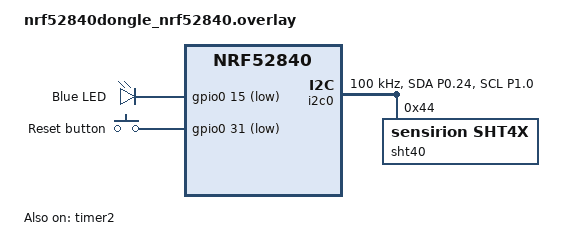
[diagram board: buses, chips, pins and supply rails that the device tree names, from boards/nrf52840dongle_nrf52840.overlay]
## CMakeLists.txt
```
# SPDX-License-Identifier: MIT

cmake_minimum_required(VERSION 3.20.0)
find_package(Zephyr REQUIRED HINTS $ENV{ZEPHYR_BASE})
project(frostbee)

target_sources(app PRIVATE src/main.c)
target_include_directories(app PRIVATE src)
```

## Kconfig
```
menu "SHT40 Test Variants"

choice SHT40_TEST_VARIANT
	prompt "Select which test variant to build and flash"
	default TEST_01_GPIO_WIGGLE

config TEST_01_GPIO_WIGGLE
	bool "Test 01: GPIO pin wiggle (verify wiring)"
	help
	  Toggles SDA/SCL pins as plain GPIO outputs.
	  Use a multimeter or logic analyzer to confirm
	  the pins are reaching your sensor.
	  NO I2C is used — purely electrical test.

config TEST_02_I2C_SCAN
	bool "Test 02: I2C bus scan (find devices)"
	help
	  Scans all 127 I2C addresses at 100kHz.
	  If your SHT40 is wired correctly, you should see
	  address 0x44 (or 0x45) respond with ACK.

config TEST_03_I2C_RAW_100K
	bool "Test 03: Raw I2C read at 100kHz"
	help
	  Sends the SHT40 'read serial number' command (0x89)
	  using Zephyr I2C API at standard 100kHz speed.
	  Prints the serial number bytes on success.

config TEST_04_I2C_RAW_400K
	bool "Test 04: Raw I2C read at 400kHz"
	help
	  Same as test 03 but at 400kHz (fast mode).
	  If test 03 works but this fails, your wiring
	  or pull-ups cannot handle fast mode.

config TEST_05_SOFT_RESET
	bool "Test 05: Soft reset then read"
	help
	  Sends a soft-reset command (0x94) to the SHT40,
	  waits 10ms, then reads serial number.
	  Useful if sensor is stuck from a previous
	  interrupted transaction.

config TEST_06_ZEPHYR_DRIVER
	bool "Test 06: Zephyr SHT4X sensor driver"
	help
	  Uses Zephyr's built-in sht4x sensor driver.
	  This is the 'proper' production approach.
	  Reads temperature and humidity via sensor API.

config TEST_07_NRFX_TWIM
	bool "Test 07: NRFX TWIM direct (bypass Zephyr)"
	help
	  Uses Nordic's NRFX TWIM HAL directly, bypassing
	  Zephyr's I2C driver entirely. If this works but
	  tests 03-06 fail, the issue is in Zephyr's driver.

config TEST_08_ALT_PINS
	bool "Test 08: Alternate pins P0.26/P0.27"
	help
	  Same I2C read as test 03 but on different pins
	  (P0.26=SDA, P0.27=SCL via i2c1).
	  Rules out pin-specific hardware issues.

config TEST_09_VERBOSE
	bool "Test 09: Verbose debug with retries"
	help
	  Same as test 03 but with maximum logging,
	  multiple retries, and detailed error reporting.
	  Use this to capture exact failure info.

endchoice

endmenu

source "Kconfig.zephyr"
```

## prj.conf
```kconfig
# Frostbee - Zigbee Temperature & Humidity Sensor
# Board: nRF52840 Dongle
#
# Unified configuration for dev and prod.
# ZBOSS NVRAM partitions are in pm_static.yml for persistent Zigbee storage.
# Bootloader is protected in region 0xd8000-0x100000.
#
# Build:
#   west build -b nrf52840dongle/nrf52840 app

# ─── Core ───
CONFIG_I2C=y
CONFIG_PINCTRL=y
CONFIG_SENSOR=y
CONFIG_GPIO=y
CONFIG_BUILD_OUTPUT_UF2=y

# ─── Zigbee ───
CONFIG_ZIGBEE_ADD_ON=y
CONFIG_ZIGBEE_APP_UTILS=y
CONFIG_ZIGBEE_ROLE_END_DEVICE=y

# Scan all Zigbee channels (11-26) instead of single channel
CONFIG_ZIGBEE_CHANNEL_SELECTION_MODE_MULTI=y

CONFIG_HEAP_MEM_POOL_SIZE=2048
CONFIG_SYSTEM_WORKQUEUE_STACK_SIZE=2048

# Networking (disable IP stack, not needed for Zigbee)
CONFIG_NET_IPV6=n
CONFIG_NET_IP_ADDR_CHECK=n
CONFIG_NET_UDP=n

# ─── Logging (enabled for development) ───
CONFIG_LOG=y
CONFIG_LOG_DEFAULT_LEVEL=3
CONFIG_SERIAL=y
CONFIG_CONSOLE=y
CONFIG_UART_CONSOLE=y
CONFIG_UART_INTERRUPT_DRIVEN=y
```

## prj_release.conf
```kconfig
# Frostbee - Release / Battery Overlay
#
# Apply on top of prj.conf for production builds (with NVRAM partitions):
#   west build -b nrf52840dongle_nrf52840 app -- \
#     -DOVERLAY_CONFIG=prj_release.conf \
#     -DPM_STATIC_YML_FILE=pm_static_release.yml
#
# WARNING: CONFIG_RAM_POWER_DOWN_LIBRARY can prevent the UF2 bootloader
# from detecting double-tap reset.  Only use this overlay when you have
# SWD access for recovery, or when the firmware is fully validated.

# ─── Power optimization ───
CONFIG_RAM_POWER_DOWN_LIBRARY=y

# ─── Disable logging / serial (saves ~10 µA idle current) ───
CONFIG_LOG=n
CONFIG_SERIAL=n
CONFIG_CONSOLE=n
CONFIG_UART_CONSOLE=n
CONFIG_UART_INTERRUPT_DRIVEN=n
```

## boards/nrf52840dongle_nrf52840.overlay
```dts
/ {
	chosen {
		ncs,zigbee-timer = &timer2;
	};

	leds {
		compatible = "gpio-leds";
		led0_green: led_0 {
			gpios = <&gpio0 15 GPIO_ACTIVE_LOW>;
			label = "Blue LED";
		};
	};

	buttons {
		compatible = "gpio-keys";
		reset_button: button_0 {
			gpios = <&gpio0 31 (GPIO_PULL_UP | GPIO_ACTIVE_LOW)>;
			label = "Reset button";
		};
	};

	aliases {
		led0 = &led0_green;
		sw0 = &reset_button;
	};
};

/* I2C bus for SHT40: SDA = P0.24, SCL = P1.00 */
&i2c0 {
	compatible = "nordic,nrf-twim";
	status = "okay";
	pinctrl-0 = <&i2c0_default>;
	pinctrl-1 = <&i2c0_sleep>;
	pinctrl-names = "default", "sleep";
	clock-frequency = <I2C_BITRATE_STANDARD>;

	sht40: sht4x@44 {
		compatible = "sensirion,sht4x";
		reg = <0x44>;
		repeatability = <2>;
	};
};

&pinctrl {
	i2c0_default: i2c0_default {
		group1 {
			psels = <NRF_PSEL(TWIM_SDA, 0, 24)>,
				<NRF_PSEL(TWIM_SCL, 1, 0)>;
		};
	};

	i2c0_sleep: i2c0_sleep {
		group1 {
			psels = <NRF_PSEL(TWIM_SDA, 0, 24)>,
				<NRF_PSEL(TWIM_SCL, 1, 0)>;
			low-power-enable;
		};
	};
};

&timer2 {
	status = "okay";
};
```

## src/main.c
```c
/*
 * Frostbee - Zigbee Temperature & Humidity Sensor
 *
 * nRF52840 Dongle + Sensirion SHT40 via I2C
 * Zigbee Sleepy End Device with ZCL clusters:
 *   - Basic, Identify, Power Configuration
 *   - Temperature Measurement, Relative Humidity
 *
 * SPDX-License-Identifier: MIT
 */

#include <zephyr/kernel.h>
#include <zephyr/device.h>
#include <zephyr/drivers/gpio.h>
#include <zephyr/drivers/sensor.h>
#include <zephyr/drivers/adc.h>
#include <zephyr/logging/log.h>
#include <zephyr/sys/reboot.h>
#include <ram_pwrdn.h>

#include <zboss_api.h>
#include <zboss_api_addons.h>
#include <zigbee/zigbee_app_utils.h>
#include <zigbee/zigbee_error_handler.h>
#include <zb_nrf_platform.h>
#include "zb_mem_config_custom.h"
#include "zb_frostbee.h"

LOG_MODULE_REGISTER(frostbee, LOG_LEVEL_INF);

/* Forward declarations */
static void sensor_read_and_update(zb_bufid_t bufid);
static void sensor_read_only(void);

/* Sensor read interval in seconds (used for ZBOSS alarm scheduling). */
#define SENSOR_READ_INTERVAL_S  10  /* 10s for dev, 600s for production */

/* Reset button timing (milliseconds) */
#define BUTTON_DEBOUNCE_MS         100    /* Ignore edges within this window */
#define BUTTON_SHORT_PRESS_MAX_MS  1000   /* < 1s = short press (force sensor read) */
#define BUTTON_FACTORY_RESET_MS    5000   /* >= 5s = factory reset */

/* Reset button GPIO */
#define RESET_BUTTON_NODE DT_ALIAS(sw0)

/* Zigbee network persistence:
 * By default, network data is kept across reboots (no rejoin needed).
 * Factory reset (5s button press) triggers NVRAM erase on next boot.
 * The erase flag is stored in settings subsystem and survives reboot.
 */

/* Basic cluster metadata */
#define FROSTBEE_INIT_BASIC_APP_VERSION    1
#define FROSTBEE_INIT_BASIC_STACK_VERSION  10
#define FROSTBEE_INIT_BASIC_HW_VERSION     1
#define FROSTBEE_INIT_BASIC_MANUF_NAME     "Frostbee"
#define FROSTBEE_INIT_BASIC_MODEL_ID       "FBE_TH_1"
#define FROSTBEE_INIT_BASIC_DATE_CODE      "20250201"
#define FROSTBEE_INIT_BASIC_LOCATION_DESC  ""
#define FROSTBEE_INIT_BASIC_PH_ENV         ZB_ZCL_BASIC_ENV_UNSPECIFIED

/* Temperature measurement range: -40.00 C to +125.00 C (SHT40 spec) */
#define FROSTBEE_TEMP_MIN_VALUE  (-4000)
#define FROSTBEE_TEMP_MAX_VALUE  12500

/* Humidity measurement range: 0.00% to 100.00% */
#define FROSTBEE_HUM_MIN_VALUE   0
#define FROSTBEE_HUM_MAX_VALUE   10000

/* ─── Device context (ZCL attribute storage) ─── */

struct zb_device_ctx {
	zb_zcl_basic_attrs_ext_t basic_attr;
	zb_zcl_identify_attrs_t  identify_attr;

	/* Power configuration */
	zb_uint8_t battery_voltage;
	zb_uint8_t battery_percentage;
	zb_uint8_t battery_size;
	zb_uint8_t battery_quantity;
	zb_uint8_t battery_rated_voltage;
	zb_uint8_t battery_alarm_mask;
	zb_uint8_t battery_voltage_min_threshold;

	/* Temperature measurement */
	zb_int16_t  temp_measure_value;
	zb_int16_t  temp_min_value;
	zb_int16_t  temp_max_value;
	zb_uint16_t temp_tolerance;

	/* Humidity measurement */
	zb_uint16_t hum_measure_value;
	zb_uint16_t hum_min_value;
	zb_uint16_t hum_max_value;
};

static struct zb_device_ctx dev_ctx;

/* Sensor device handle */
static const struct device *sht;

/* ─── Battery voltage measurement ─── */

/* ADC configuration for P0.29 (AIN5) */
#define ADC_NODE        DT_NODELABEL(adc)
#define ADC_CHANNEL_ID  5
#define ADC_RESOLUTION  12
#define ADC_VREF_MV     600   /* Internal reference: 0.6V */
#define ADC_GAIN_FACTOR 6     /* Gain 1/6 means multiply by 6 */

/* Voltage divider: R1=10kΩ, R2=10kΩ (divides by 2) */
#define VDIV_FACTOR     2

static const struct device *adc_dev;

static struct adc_channel_cfg adc_cfg = {
	.gain = ADC_GAIN_1_6,
	.reference = ADC_REF_INTERNAL,
	.acquisition_time = ADC_ACQ_TIME_DEFAULT,
	.channel_id = ADC_CHANNEL_ID,
	.input_positive = SAADC_CH_PSELP_PSELP_AnalogInput5,  /* AIN5 = P0.29 */
};

static int16_t adc_sample_buffer;

static struct adc_sequence adc_seq = {
	.channels = BIT(ADC_CHANNEL_ID),
	.buffer = &adc_sample_buffer,
	.buffer_size = sizeof(adc_sample_buffer),
	.resolution = ADC_RESOLUTION,
};

/* GPIO to enable voltage divider (P0.02) - active LOW = connected to GND */
static const struct gpio_dt_spec vbat_enable = GPIO_DT_SPEC_GET(DT_NODELABEL(vbat_en), gpios);

/* Mutex to protect sensor access from concurrent reads */
static K_MUTEX_DEFINE(sensor_mutex);

/* Reset button */
#if DT_NODE_EXISTS(RESET_BUTTON_NODE)
static const struct gpio_dt_spec reset_button = GPIO_DT_SPEC_GET(RESET_BUTTON_NODE, gpios);
static struct gpio_callback button_cb_data;
static int64_t button_press_time;
static bool button_pressed_state;  /* Track logical state */
static bool long_press_handled;    /* Already triggered factory reset */
static struct k_work_delayable debounce_work;
static struct k_work_delayable factory_reset_work;

static void do_factory_reset(zb_uint8_t param)
{
	ARG_UNUSED(param);

	LOG_WRN("Factory reset - leaving network and erasing NVRAM");
	/* This function leaves the network, erases NVRAM, and reboots.
	 * It's called from ZBOSS context via ZB_SCHEDULE_APP_CALLBACK.
	 */
	zb_bdb_reset_via_local_action(param);
	/* Note: zb_bdb_reset_via_local_action will trigger a reboot internally */
}

static void factory_reset_handler(struct k_work *work)
{
	ARG_UNUSED(work);

	/* Check if button is still held */
	if (gpio_pin_get_dt(&reset_button) == 1) {
		long_press_handled = true;
		/* Schedule factory reset in ZBOSS context */
		ZB_SCHEDULE_APP_CALLBACK(do_factory_reset, 0);
	}
}

static void debounce_handler(struct k_work *work)
{
	ARG_UNUSED(work);

	/* Read the settled state after debounce period */
	int pressed = gpio_pin_get_dt(&reset_button);

	/* Only act if state actually changed */
	if (pressed == button_pressed_state) {
		return;
	}
	button_pressed_state = pressed;

	if (pressed) {
		/* Button pressed - record time and schedule factory reset check */
		button_press_time = k_uptime_get();
		long_press_handled = false;
		k_work_schedule(&factory_reset_work, K_MSEC(BUTTON_FACTORY_RESET_MS));
		LOG_INF("Button pressed - hold 5s for factory reset");
	} else {
		/* Button released - cancel factory reset, check for short press */
		k_work_cancel_delayable(&factory_reset_work);

		if (long_press_handled) {
			LOG_INF("Button released (monitoring now active)");
			long_press_handled = false;  /* Ready for next press */
		} else {
			int64_t hold_time = k_uptime_get() - button_press_time;

			if (hold_time < BUTTON_SHORT_PRESS_MAX_MS) {
				LOG_INF("Short press - forcing sensor read");
				sensor_read_only();
			} else {
				LOG_INF("Button released after %lld ms (no action)", hold_time);
			}
		}
	}
}

static void button_callback(const struct device *dev, struct gpio_callback *cb,
			    uint32_t pins)
{
	ARG_UNUSED(dev);
	ARG_UNUSED(cb);
	ARG_UNUSED(pins);

	/* On any edge, schedule debounce check - it will read settled state */
	k_work_reschedule(&debounce_work, K_MSEC(BUTTON_DEBOUNCE_MS));
}

static int button_init(void)
{
	int ret;

	if (!gpio_is_ready_dt(&reset_button)) {
		LOG_ERR("Reset button GPIO not ready");
		return -ENODEV;
	}

	ret = gpio_pin_configure_dt(&reset_button, GPIO_INPUT);
	if (ret < 0) {
		LOG_ERR("Failed to configure reset button: %d", ret);
		return ret;
	}

	ret = gpio_pin_interrupt_configure_dt(&reset_button, GPIO_INT_EDGE_BOTH);
	if (ret < 0) {
		LOG_ERR("Failed to configure button interrupt: %d", ret);
		return ret;
	}

	gpio_init_callback(&button_cb_data, button_callback,
			   BIT(reset_button.pin));
	gpio_add_callback(reset_button.port, &button_cb_data);

	k_work_init_delayable(&debounce_work, debounce_handler);
	k_work_init_delayable(&factory_reset_work, factory_reset_handler);

	/* Initialize state from current pin level.
	 * If button is pressed on boot (e.g., still held from factory reset),
	 * wait for release before monitoring to avoid spurious actions.
	 */
	button_pressed_state = gpio_pin_get_dt(&reset_button);

	LOG_INF("Reset button ready on P0.31 (initial state: %s)",
		button_pressed_state ? "pressed" : "released");

	if (button_pressed_state) {
		LOG_INF("Button held on boot - waiting for release before monitoring");
		/* Wait for button to be released before starting normal monitoring */
		long_press_handled = true;  /* Suppress any actions until released */
	}

	return 0;
}
#endif /* DT_NODE_EXISTS(RESET_BUTTON_NODE) */

/* ─── ZCL attribute lists ─── */

ZB_ZCL_DECLARE_BASIC_ATTRIB_LIST_EXT(
	basic_attr_list,
	&dev_ctx.basic_attr.zcl_version,
	&dev_ctx.basic_attr.app_version,
	&dev_ctx.basic_attr.stack_version,
	&dev_ctx.basic_attr.hw_version,
	dev_ctx.basic_attr.mf_name,
	dev_ctx.basic_attr.model_id,
	dev_ctx.basic_attr.date_code,
	&dev_ctx.basic_attr.power_source,
	dev_ctx.basic_attr.location_id,
	&dev_ctx.basic_attr.ph_env,
	dev_ctx.basic_attr.sw_ver);

ZB_ZCL_DECLARE_IDENTIFY_CLIENT_ATTRIB_LIST(
	identify_client_attr_list);

ZB_ZCL_DECLARE_IDENTIFY_SERVER_ATTRIB_LIST(
	identify_server_attr_list,
	&dev_ctx.identify_attr.identify_time);

/* Custom power config attribute list with batteryPercentageRemaining
 * Using raw attribute descriptors since ZBOSS macros require bat_num suffix
 */
zb_zcl_attr_t power_config_attr_list[] = {
	{
		ZB_ZCL_ATTR_POWER_CONFIG_BATTERY_VOLTAGE_ID,
		ZB_ZCL_ATTR_TYPE_U8,
		ZB_ZCL_ATTR_ACCESS_READ_ONLY,
		(ZB_ZCL_NON_MANUFACTURER_SPECIFIC),
		(void *)&dev_ctx.battery_voltage
	},
	{
		ZB_ZCL_ATTR_POWER_CONFIG_BATTERY_PERCENTAGE_REMAINING_ID,
		ZB_ZCL_ATTR_TYPE_U8,
		ZB_ZCL_ATTR_ACCESS_READ_ONLY | ZB_ZCL_ATTR_ACCESS_REPORTING,
		(ZB_ZCL_NON_MANUFACTURER_SPECIFIC),
		(void *)&dev_ctx.battery_percentage
	},
	{
		ZB_ZCL_ATTR_POWER_CONFIG_BATTERY_SIZE_ID,
		ZB_ZCL_ATTR_TYPE_8BIT_ENUM,
		ZB_ZCL_ATTR_ACCESS_READ_ONLY,
		(ZB_ZCL_NON_MANUFACTURER_SPECIFIC),
		(void *)&dev_ctx.battery_size
	},
	{
		ZB_ZCL_ATTR_POWER_CONFIG_BATTERY_QUANTITY_ID,
		ZB_ZCL_ATTR_TYPE_U8,
		ZB_ZCL_ATTR_ACCESS_READ_ONLY,
		(ZB_ZCL_NON_MANUFACTURER_SPECIFIC),
		(void *)&dev_ctx.battery_quantity
	},
	{
		ZB_ZCL_ATTR_POWER_CONFIG_BATTERY_RATED_VOLTAGE_ID,
		ZB_ZCL_ATTR_TYPE_U8,
		ZB_ZCL_ATTR_ACCESS_READ_ONLY,
		(ZB_ZCL_NON_MANUFACTURER_SPECIFIC),
		(void *)&dev_ctx.battery_rated_voltage
	},
	{
		ZB_ZCL_ATTR_POWER_CONFIG_BATTERY_ALARM_MASK_ID,
		ZB_ZCL_ATTR_TYPE_8BITMAP,
		ZB_ZCL_ATTR_ACCESS_READ_WRITE,
		(ZB_ZCL_NON_MANUFACTURER_SPECIFIC),
		(void *)&dev_ctx.battery_alarm_mask
	},
	{
		ZB_ZCL_ATTR_POWER_CONFIG_BATTERY_VOLTAGE_MIN_THRESHOLD_ID,
		ZB_ZCL_ATTR_TYPE_U8,
		ZB_ZCL_ATTR_ACCESS_READ_WRITE,
		(ZB_ZCL_NON_MANUFACTURER_SPECIFIC),
		(void *)&dev_ctx.battery_voltage_min_threshold
	},
	{
		ZB_ZCL_NULL_ID,
		0,
		0,
		(ZB_ZCL_NON_MANUFACTURER_SPECIFIC),
		NULL
	}
};

ZB_ZCL_DECLARE_TEMP_MEASUREMENT_ATTRIB_LIST(
	temp_measurement_attr_list,
	&dev_ctx.temp_measure_value,
	&dev_ctx.temp_min_value,
	&dev_ctx.temp_max_value,
	&dev_ctx.temp_tolerance);

ZB_ZCL_DECLARE_REL_HUMIDITY_MEASUREMENT_ATTRIB_LIST(
	humidity_attr_list,
	&dev_ctx.hum_measure_value,
	&dev_ctx.hum_min_value,
	&dev_ctx.hum_max_value);

/* ─── Cluster list, endpoint, device context ─── */

ZB_DECLARE_FROSTBEE_CLUSTER_LIST(
	frostbee_clusters,
	basic_attr_list,
	identify_client_attr_list,
	identify_server_attr_list,
	power_config_attr_list,
	temp_measurement_attr_list,
	humidity_attr_list);

ZB_DECLARE_FROSTBEE_EP(
	frostbee_ep,
	FROSTBEE_ENDPOINT,
	frostbee_clusters);

ZBOSS_DECLARE_DEVICE_CTX_1_EP(
	frostbee_ctx,
	frostbee_ep);

/* ─── Attribute initialization ─── */

static void clusters_attr_init(void)
{
	/* Basic cluster */
	dev_ctx.basic_attr.zcl_version = ZB_ZCL_VERSION;
	dev_ctx.basic_attr.app_version = FROSTBEE_INIT_BASIC_APP_VERSION;
	dev_ctx.basic_attr.stack_version = FROSTBEE_INIT_BASIC_STACK_VERSION;
	dev_ctx.basic_attr.hw_version = FROSTBEE_INIT_BASIC_HW_VERSION;

	ZB_ZCL_SET_STRING_VAL(
		dev_ctx.basic_attr.mf_name,
		FROSTBEE_INIT_BASIC_MANUF_NAME,
		ZB_ZCL_STRING_CONST_SIZE(FROSTBEE_INIT_BASIC_MANUF_NAME));

	ZB_ZCL_SET_STRING_VAL(
		dev_ctx.basic_attr.model_id,
		FROSTBEE_INIT_BASIC_MODEL_ID,
		ZB_ZCL_STRING_CONST_SIZE(FROSTBEE_INIT_BASIC_MODEL_ID));

	ZB_ZCL_SET_STRING_VAL(
		dev_ctx.basic_attr.date_code,
		FROSTBEE_INIT_BASIC_DATE_CODE,
		ZB_ZCL_STRING_CONST_SIZE(FROSTBEE_INIT_BASIC_DATE_CODE));

	dev_ctx.basic_attr.power_source = ZB_ZCL_BASIC_POWER_SOURCE_BATTERY;

	ZB_ZCL_SET_STRING_VAL(
		dev_ctx.basic_attr.location_id,
		FROSTBEE_INIT_BASIC_LOCATION_DESC,
		ZB_ZCL_STRING_CONST_SIZE(FROSTBEE_INIT_BASIC_LOCATION_DESC));

	dev_ctx.basic_attr.ph_env = FROSTBEE_INIT_BASIC_PH_ENV;

	/* Identify cluster */
	dev_ctx.identify_attr.identify_time =
		ZB_ZCL_IDENTIFY_IDENTIFY_TIME_DEFAULT_VALUE;

	/* Power configuration — 3× AA batteries in series */
	dev_ctx.battery_voltage = 45;  /* 4.5V in units of 100mV (fresh batteries) */
	dev_ctx.battery_percentage = 200; /* 100% (ZCL uses 0.5% units, so 200 = 100%) */
	dev_ctx.battery_size = ZB_ZCL_POWER_CONFIG_BATTERY_SIZE_AA;
	dev_ctx.battery_quantity = 3;  /* 3× AA in series */
	dev_ctx.battery_rated_voltage = 15; /* 1.5V per cell in units of 100mV */
	dev_ctx.battery_alarm_mask = 0;
	dev_ctx.battery_voltage_min_threshold = 30; /* 3.0V alarm threshold (1.0V per cell) */

	/* Temperature measurement */
	dev_ctx.temp_measure_value = ZB_ZCL_ATTR_TEMP_MEASUREMENT_VALUE_UNKNOWN;
	dev_ctx.temp_min_value = FROSTBEE_TEMP_MIN_VALUE;
	dev_ctx.temp_max_value = FROSTBEE_TEMP_MAX_VALUE;
	dev_ctx.temp_tolerance = 20; /* 0.2 C tolerance (SHT40 typical accuracy) */

	/* Humidity measurement */
	dev_ctx.hum_measure_value = ZB_ZCL_ATTR_REL_HUMIDITY_MEASUREMENT_VALUE_UNKNOWN;
	dev_ctx.hum_min_value = FROSTBEE_HUM_MIN_VALUE;
	dev_ctx.hum_max_value = FROSTBEE_HUM_MAX_VALUE;
}

/* ─── Battery voltage measurement ─── */

/* Compare function for qsort - ascending order */
static int compare_int16(const void *a, const void *b)
{
	return (*(int16_t *)a - *(int16_t *)b);
}

/* Read battery voltage via ADC with voltage divider enable/disable.
 *
 * Circuit: BAT+ → R1(10kΩ) → [P0.29/ADC] → R2(10kΩ) → [P0.02/GPIO] → GND
 *                                        └→ C(0.1µF) → GND
 *
 * Power saving: P0.02 configured as INPUT (high-Z) when not measuring.
 *               Only set to OUTPUT LOW when reading ADC (enables divider).
 *
 * Measurement strategy: Take 5 samples, remove min/max, average middle 3.
 * This eliminates ADC noise and transient spikes.
 *
 * Returns battery voltage in ZCL format (units of 100mV), or 0 on error.
 */
static uint8_t read_battery_voltage(void)
{
	int ret;
	int16_t samples[5];

	if (!device_is_ready(adc_dev)) {
		LOG_ERR("ADC device not ready");
		return 0;
	}

	/* Enable voltage divider: set P0.02 as OUTPUT LOW (connects R2 to GND) */
	ret = gpio_pin_configure_dt(&vbat_enable, GPIO_OUTPUT_ACTIVE);
	if (ret < 0) {
		LOG_ERR("Failed to enable voltage divider: %d", ret);
		return 0;
	}

	/* Wait for capacitor to charge and voltage to stabilize
	 * RC = 10kΩ × 0.1µF = 1ms, wait 2ms to be safe
	 */
	k_msleep(2);

	/* Take 5 ADC samples */
	for (int i = 0; i < 5; i++) {
		ret = adc_read(adc_dev, &adc_seq);
		if (ret < 0) {
			LOG_ERR("ADC read %d failed: %d", i, ret);
			gpio_pin_configure_dt(&vbat_enable, GPIO_INPUT);
			return 0;
		}
		samples[i] = adc_sample_buffer;

		/* Small delay between samples to allow ADC to settle */
		if (i < 4) {
			k_usleep(500);  /* 500µs between samples */
		}
	}

	/* Disable voltage divider: set P0.02 as INPUT (high impedance, ~0µA) */
	gpio_pin_configure_dt(&vbat_enable, GPIO_INPUT);

	/* Sort samples to find min/max */
	qsort(samples, 5, sizeof(int16_t), compare_int16);

	/* Average the middle 3 values (exclude min=samples[0] and max=samples[4]) */
	int32_t sum = samples[1] + samples[2] + samples[3];
	int16_t avg_sample = sum / 3;

	LOG_DBG("ADC samples: [%d, %d, %d, %d, %d] → avg of middle 3: %d",
		samples[0], samples[1], samples[2], samples[3], samples[4], avg_sample);

	/* Convert ADC value to millivolts at ADC pin (P0.29)
	 * Formula: mV = (sample × VREF_mV × GAIN_FACTOR) / (2^12 - 1)
	 * Example: sample=2048 → (2048 × 600 × 6) / 4095 = 1800mV
	 */
	int32_t adc_mv = ((int32_t)avg_sample * ADC_VREF_MV * ADC_GAIN_FACTOR) / 4095;

	/* Actual battery voltage (voltage divider is 1:2, so multiply by 2) */
	int32_t battery_mv = adc_mv * VDIV_FACTOR;

	/* Convert to ZCL format: units of 100mV */
	uint8_t battery_zcl = (uint8_t)(battery_mv / 100);

	/* Calculate battery percentage (linear approximation for 3× AA batteries):
	 * 4.5V (fresh) = 100%, 3.0V (depleted) = 0%
	 * ZCL uses 0.5% units, so 200 = 100%, 0 = 0%
	 */
	int32_t percentage_raw = ((battery_mv - 3000) * 200) / 1500;
	if (percentage_raw < 0) {
		percentage_raw = 0;
	}
	if (percentage_raw > 200) {
		percentage_raw = 200;
	}
	uint8_t battery_pct = (uint8_t)percentage_raw;

	LOG_INF("Battery: %d mV (ZCL=%u), %u%% (ZCL=%u)",
		battery_mv, battery_zcl,
		battery_pct / 2, battery_pct);

	/* Update device context */
	dev_ctx.battery_voltage = battery_zcl;
	dev_ctx.battery_percentage = battery_pct;

	return battery_zcl;
}

/* ─── Sensor reading & ZCL attribute update ─── */

/* Read sensor and update ZCL attributes (without rescheduling).
 * Used by button handler for on-demand reads.
 * Thread-safe via mutex - can be called from button or timer context.
 */
static void sensor_read_only(void)
{
	struct sensor_value temp, hum;
	int ret;

	k_mutex_lock(&sensor_mutex, K_FOREVER);

	if (!device_is_ready(sht)) {
		LOG_ERR("SHT4X not ready, skipping read");
		k_mutex_unlock(&sensor_mutex);
		return;
	}

	ret = sensor_sample_fetch(sht);
	if (ret) {
		LOG_ERR("Sensor fetch failed: %d", ret);
		k_mutex_unlock(&sensor_mutex);
		return;
	}

	sensor_channel_get(sht, SENSOR_CHAN_AMBIENT_TEMP, &temp);
	sensor_channel_get(sht, SENSOR_CHAN_HUMIDITY, &hum);

	/* Convert to ZCL format:
	 * Temperature: signed int16 in units of 0.01 C
	 * Humidity: unsigned int16 in units of 0.01 %RH
	 */
	zb_int16_t temp_zcl = (zb_int16_t)(temp.val1 * 100 +
					    temp.val2 / 10000);
	zb_uint16_t hum_zcl = (zb_uint16_t)(hum.val1 * 100 +
					     hum.val2 / 10000);

	LOG_INF("T: %d.%02d C (%d)  H: %d.%02d %%RH (%u)",
		temp.val1, temp.val2 / 10000, temp_zcl,
		hum.val1, hum.val2 / 10000, hum_zcl);

	/* Update ZCL attributes — ZB_FALSE just stores the value.
	 * The ZBOSS reporting engine sends reports automatically
	 * based on the coordinator's Configure Reporting thresholds
	 * (min/max interval, reportable change).
	 */
	ZB_ZCL_SET_ATTRIBUTE(
		FROSTBEE_ENDPOINT,
		ZB_ZCL_CLUSTER_ID_TEMP_MEASUREMENT,
		ZB_ZCL_CLUSTER_SERVER_ROLE,
		ZB_ZCL_ATTR_TEMP_MEASUREMENT_VALUE_ID,
		(zb_uint8_t *)&temp_zcl,
		ZB_FALSE);

	ZB_ZCL_SET_ATTRIBUTE(
		FROSTBEE_ENDPOINT,
		ZB_ZCL_CLUSTER_ID_REL_HUMIDITY_MEASUREMENT,
		ZB_ZCL_CLUSTER_SERVER_ROLE,
		ZB_ZCL_ATTR_REL_HUMIDITY_MEASUREMENT_VALUE_ID,
		(zb_uint8_t *)&hum_zcl,
		ZB_FALSE);

	/* Read battery voltage via ADC */
	read_battery_voltage();

	/* Update battery ZCL attributes */
	ZB_ZCL_SET_ATTRIBUTE(
		FROSTBEE_ENDPOINT,
		ZB_ZCL_CLUSTER_ID_POWER_CONFIG,
		ZB_ZCL_CLUSTER_SERVER_ROLE,
		ZB_ZCL_ATTR_POWER_CONFIG_BATTERY_VOLTAGE_ID,
		(zb_uint8_t *)&dev_ctx.battery_voltage,
		ZB_FALSE);

	ZB_ZCL_SET_ATTRIBUTE(
		FROSTBEE_ENDPOINT,
		ZB_ZCL_CLUSTER_ID_POWER_CONFIG,
		ZB_ZCL_CLUSTER_SERVER_ROLE,
		ZB_ZCL_ATTR_POWER_CONFIG_BATTERY_PERCENTAGE_REMAINING_ID,
		(zb_uint8_t *)&dev_ctx.battery_percentage,
		ZB_FALSE);

	k_mutex_unlock(&sensor_mutex);
}

/* Periodic sensor read callback (called by Zigbee alarm scheduler).
 * Reads sensor and reschedules next read.
 */
static void sensor_read_and_update(zb_bufid_t bufid)
{
	ARG_UNUSED(bufid);

	sensor_read_only();

	/* Schedule next periodic read */
	ZB_SCHEDULE_APP_ALARM(sensor_read_and_update, 0,
			      ZB_MILLISECONDS_TO_BEACON_INTERVAL(
				      SENSOR_READ_INTERVAL_S * 1000));
}

/* ─── Zigbee signal handler ─── */

void zboss_signal_handler(zb_bufid_t bufid)
{
	zb_zdo_app_signal_hdr_t *sig_hndler = NULL;
	zb_zdo_app_signal_type_t sig = zb_get_app_signal(bufid, &sig_hndler);
	zb_ret_t status = ZB_GET_APP_SIGNAL_STATUS(bufid);

	switch (sig) {
	case ZB_BDB_SIGNAL_DEVICE_REBOOT:
		/* fall-through */
	case ZB_BDB_SIGNAL_STEERING:
		ZB_ERROR_CHECK(zigbee_default_signal_handler(bufid));
		if (status == RET_OK) {
			LOG_INF("Joined network, starting sensor reads");
			/* Start periodic sensor reading */
			ZB_SCHEDULE_APP_ALARM(sensor_read_and_update, 0,
					      ZB_MILLISECONDS_TO_BEACON_INTERVAL(
						      1000));
		}
		break;

	case ZB_ZDO_SIGNAL_LEAVE:
		/* Factory reset triggered - reboot after leaving network */
#if DT_NODE_EXISTS(RESET_BUTTON_NODE)
		if (long_press_handled) {
			LOG_WRN("Left network after factory reset, rebooting...");
			k_msleep(100);
			sys_reboot(SYS_REBOOT_COLD);
		}
#endif
		ZB_ERROR_CHECK(zigbee_default_signal_handler(bufid));
		break;

	case ZB_ZDO_SIGNAL_PRODUCTION_CONFIG_READY:
		/* Production config partition is empty - this is normal,
		 * we don't use install codes or pre-shared keys. */
		break;

	case ZB_SIGNAL_JOIN_DONE:
		/* Certification testing signal - ignore. */
		break;

	default:
		ZB_ERROR_CHECK(zigbee_default_signal_handler(bufid));
		break;
	}

	if (bufid) {
		zb_buf_free(bufid);
	}
}

/* ─── Main ─── */

int main(void)
{
	LOG_INF("Frostbee starting - Zigbee SHT40 sensor");

	/* Get sensor device handle */
	sht = DEVICE_DT_GET_ANY(sensirion_sht4x);
	if (sht == NULL) {
		LOG_ERR("SHT4X device not found in devicetree");
		return -ENODEV;
	}
	if (!device_is_ready(sht)) {
		LOG_ERR("SHT4X device not ready");
		return -ENODEV;
	}
	LOG_INF("SHT40 sensor ready");

	/* Initialize ADC for battery voltage measurement */
	adc_dev = DEVICE_DT_GET(ADC_NODE);
	if (!device_is_ready(adc_dev)) {
		LOG_ERR("ADC device not ready");
		return -ENODEV;
	}

	if (adc_channel_setup(adc_dev, &adc_cfg) < 0) {
		LOG_ERR("ADC channel setup failed");
		return -EIO;
	}
	LOG_INF("ADC ready on P0.29 (AIN5) for battery voltage");

	/* Initialize GPIO for voltage divider control (P0.02)
	 * Start as INPUT (high-Z) to save power - divider is OFF by default
	 */
	if (!gpio_is_ready_dt(&vbat_enable)) {
		LOG_ERR("Battery enable GPIO not ready");
		return -ENODEV;
	}

	if (gpio_pin_configure_dt(&vbat_enable, GPIO_INPUT) < 0) {
		LOG_ERR("Failed to configure battery enable GPIO");
		return -EIO;
	}
	LOG_INF("Battery voltage divider control ready on P0.02 (default: OFF)");

#if DT_NODE_EXISTS(RESET_BUTTON_NODE)
	if (button_init() < 0) {
		LOG_WRN("Reset button init failed - continuing without it");
	}
#endif

	/* Configure as sleepy end device */
	zb_set_ed_timeout(ED_AGING_TIMEOUT_64MIN);
	zb_set_keepalive_timeout(ZB_MILLISECONDS_TO_BEACON_INTERVAL(3000));
	zigbee_configure_sleepy_behavior(true);

	/* Power down unused RAM */
	if (IS_ENABLED(CONFIG_RAM_POWER_DOWN_LIBRARY)) {
		power_down_unused_ram();
	}

	/* Register device context and initialize attributes */
	ZB_AF_REGISTER_DEVICE_CTX(&frostbee_ctx);
	clusters_attr_init();

	/* Start Zigbee stack */
	zigbee_enable();

	LOG_INF("Frostbee Zigbee stack started");

	while (1) {
		k_sleep(K_FOREVER);
	}

	return 0;
}
```

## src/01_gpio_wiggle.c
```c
/*
 * TEST 01: GPIO Pin Wiggle
 *
 * PURPOSE: Verify that your SDA (P0.20) and SCL (P0.22) wires are
 *          actually connected between the nRF and the SHT40 breakout.
 *
 * NO I2C is used here — we just toggle the pins as plain GPIO.
 *
 * WHAT TO CHECK:
 *   - Use a multimeter on the SDA/SCL lines
 *   - You should see voltage toggling every 1 second
 *   - If you don't see toggling, check your wiring
 *   - The on-board LED also blinks so you know the firmware is running
 *
 * EXPECTED SERIAL OUTPUT:
 *   [TEST 01] GPIO Pin Wiggle — verify SDA/SCL wiring
 *   [TEST 01] SDA=P0.20  SCL=P0.22
 *   [TEST 01] Toggling pins... (check with multimeter)
 *   [TEST 01] SDA=HIGH  SCL=HIGH
 *   [TEST 01] SDA=LOW   SCL=LOW
 *   ...repeats...
 */

#include <zephyr/kernel.h>
#include <zephyr/drivers/gpio.h>
#include <zephyr/logging/log.h>
#include <hal/nrf_gpio.h>
#include <hal/nrf_twim.h>

LOG_MODULE_REGISTER(test_01, LOG_LEVEL_INF);

/*
 * ┌─────────────────────────────────────────┐
 * │  CHANGE THESE TO TEST DIFFERENT PINS:   │
 * │                                         │
 * │  P0.xx → NRF_GPIO_PIN_MAP(0, xx)       │
 * │  P1.xx → NRF_GPIO_PIN_MAP(1, xx)       │
 * └─────────────────────────────────────────┘
 */
#define SDA_ABS  NRF_GPIO_PIN_MAP(0, 24)   /* P0.24 */
#define SCL_ABS  NRF_GPIO_PIN_MAP(1, 0)    /* P1.00 */

/* LED for visual heartbeat */
#define LED0_NODE DT_ALIAS(led0)
static const struct gpio_dt_spec led = GPIO_DT_SPEC_GET(LED0_NODE, gpios);

int main(void)
{
	/* Wait for USB serial to connect */
	for (int i = 10; i > 0; i--) {
		printk("Starting in %d...\n", i);
		k_msleep(1000);
	}

	LOG_INF("========================================");
	LOG_INF("TEST 01: GPIO Pin Wiggle");
	LOG_INF("Verify SDA/SCL wiring with multimeter");
	LOG_INF("========================================");
	LOG_INF("SDA = P%d.%02d (abs %d)", SDA_ABS / 32, SDA_ABS % 32, SDA_ABS);
	LOG_INF("SCL = P%d.%02d (abs %d)", SCL_ABS / 32, SCL_ABS % 32, SCL_ABS);

	/*
	 * Disable ALL I2C peripherals and disconnect their pins.
	 * Both TWIM0 and TWIM1 are enabled in the overlay, so
	 * Zephyr claims pins at boot. We must fully release them.
	 */
	LOG_INF("Disabling TWIM0 and TWIM1...");

	NRF_TWIM0->ENABLE = 0;
	NRF_TWIM0->PSEL.SDA = 0xFFFFFFFF;
	NRF_TWIM0->PSEL.SCL = 0xFFFFFFFF;

	NRF_TWIM1->ENABLE = 0;
	NRF_TWIM1->PSEL.SDA = 0xFFFFFFFF;
	NRF_TWIM1->PSEL.SCL = 0xFFFFFFFF;

	/*
	 * Configure pins using direct nRF register access.
	 * nrf_gpio_* functions handle both P0 and P1 ports.
	 */
	LOG_INF("Configuring pins as GPIO outputs...");

	nrf_gpio_cfg_output(SDA_ABS);
	nrf_gpio_cfg_output(SCL_ABS);

	/* Start both LOW */
	nrf_gpio_pin_clear(SDA_ABS);
	nrf_gpio_pin_clear(SCL_ABS);

	/* Read back to verify */
	uint32_t sda_in = nrf_gpio_pin_read(SDA_ABS);
	uint32_t scl_in = nrf_gpio_pin_read(SCL_ABS);
	uint32_t sda_out = nrf_gpio_pin_out_read(SDA_ABS);
	uint32_t scl_out = nrf_gpio_pin_out_read(SCL_ABS);

	LOG_INF("After clear — OUT reg: SDA=%d SCL=%d", sda_out, scl_out);
	LOG_INF("After clear — IN  reg: SDA=%d SCL=%d", sda_in, scl_in);

	if (sda_in != 0 || scl_in != 0) {
		LOG_WRN("Pin reads HIGH despite being set LOW!");
		LOG_WRN("Something external may be pulling the line up");
		LOG_WRN("(pull-up resistor? sensor? short to VCC?)");
	}

	/* Configure LED */
	if (gpio_is_ready_dt(&led)) {
		gpio_pin_configure_dt(&led, GPIO_OUTPUT_ACTIVE);
	}

	LOG_INF("");
	LOG_INF("Toggling pins every 1 second...");
	LOG_INF("Measure with multimeter: should alternate 0V / 3.3V");
	LOG_INF("");

	bool state = false;
	int cycle = 0;

	while (1) {
		state = !state;
		cycle++;

		/* Toggle using nrf_gpio (handles both P0 and P1) */
		if (state) {
			nrf_gpio_pin_set(SDA_ABS);
			nrf_gpio_pin_set(SCL_ABS);
		} else {
			nrf_gpio_pin_clear(SDA_ABS);
			nrf_gpio_pin_clear(SCL_ABS);
		}

		/* Read back what the pin actually sees */
		sda_in = nrf_gpio_pin_read(SDA_ABS);
		scl_in = nrf_gpio_pin_read(SCL_ABS);

		if (gpio_is_ready_dt(&led)) {
			gpio_pin_toggle_dt(&led);
		}

		LOG_INF("[cycle %d] SET=%s  READ: SDA=%s SCL=%s",
			cycle,
			state ? "HIGH" : "LOW",
			sda_in ? "HIGH" : "LOW",
			scl_in ? "HIGH" : "LOW");

		k_msleep(1000);
	}

	return 0;
}
```

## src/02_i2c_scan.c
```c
/*
 * TEST 02: I2C Bus Scan
 *
 * PURPOSE: Scan all 127 possible I2C addresses to see which devices
 *          respond with ACK. The SHT40 should appear at 0x44 or 0x45.
 *
 * WHAT TO CHECK:
 *   - If you see "Found device at 0x44" — sensor is electrically OK
 *   - If you see "Found device at 0x45" — sensor is the B variant
 *   - If NO devices found — wiring or pull-up issue
 *
 * EXPECTED SERIAL OUTPUT (success):
 *   [TEST 02] I2C Bus Scan
 *   [TEST 02] Scanning 127 addresses on i2c0...
 *   [TEST 02] 0x44: *** FOUND DEVICE ***
 *   [TEST 02] Scan complete: 1 device(s) found
 *
 * EXPECTED SERIAL OUTPUT (failure):
 *   [TEST 02] Scan complete: 0 device(s) found
 *   [TEST 02] >>> No devices! Check wiring and pull-ups <<<
 */

#include <zephyr/kernel.h>
#include <zephyr/drivers/i2c.h>
#include <zephyr/drivers/gpio.h>
#include <zephyr/logging/log.h>

LOG_MODULE_REGISTER(test_02, LOG_LEVEL_INF);

#define I2C_NODE DT_NODELABEL(i2c0)

/* LED for visual heartbeat */
#define LED0_NODE DT_ALIAS(led0)
static const struct gpio_dt_spec led = GPIO_DT_SPEC_GET(LED0_NODE, gpios);

int main(void)
{
	const struct device *i2c_dev = DEVICE_DT_GET(I2C_NODE);
	int found = 0;

	/* Wait for USB serial to connect */
	for (int i = 10; i > 0; i--) {
		printk("Starting in %d...\n", i);
		k_msleep(1000);
	}

	LOG_INF("========================================");
	LOG_INF("TEST 02: I2C Bus Scan");
	LOG_INF("Looking for devices on i2c0 (100kHz)");
	LOG_INF("SDA=P0.24  SCL=P1.00");
	LOG_INF("========================================");

	if (!device_is_ready(i2c_dev)) {
		LOG_ERR("I2C device not ready! Check overlay/config.");
		return -1;
	}

	LOG_INF("I2C bus is ready. Scanning 127 addresses...");
	LOG_INF("");

	/* Configure LED */
	if (gpio_is_ready_dt(&led)) {
		gpio_pin_configure_dt(&led, GPIO_OUTPUT_ACTIVE);
	}

	/*
	 * Scan every valid 7-bit address (0x03 to 0x77).
	 * Addresses 0x00-0x02 and 0x78-0x7F are reserved.
	 * We do a zero-length write — if the device ACKs, it exists.
	 */
	for (uint8_t addr = 0x03; addr <= 0x77; addr++) {
		struct i2c_msg msg;
		uint8_t dummy;

		msg.buf = &dummy;
		msg.len = 0;
		msg.flags = I2C_MSG_WRITE | I2C_MSG_STOP;

		int ret = i2c_transfer(i2c_dev, &msg, 1, addr);

		if (ret == 0) {
			LOG_INF("  0x%02X: *** FOUND DEVICE ***", addr);
			found++;

			if (addr == 0x44) {
				LOG_INF("         ^ This is SHT40-AD1B (most common)");
			} else if (addr == 0x45) {
				LOG_INF("         ^ This is SHT40-BD1B (B variant)");
			}
		}
	}

	LOG_INF("");
	LOG_INF("Scan complete: %d device(s) found", found);

	if (found == 0) {
		LOG_WRN(">>> No devices found! <<<");
		LOG_WRN("Check:");
		LOG_WRN("  1. Wiring: SDA to P0.24, SCL to P1.00");
		LOG_WRN("  2. Pull-ups: 4.7k or 10k to VDD on SDA & SCL");
		LOG_WRN("  3. Power: SHT40 VDD connected to 3.3V");
		LOG_WRN("  4. Ground: SHT40 GND connected to nRF GND");
	}

	LOG_INF("");
	LOG_INF("Repeating scan every 5 seconds...");

	/* Repeat scan in a loop so you can fiddle with wires */
	while (1) {
		k_msleep(5000);

		if (gpio_is_ready_dt(&led)) {
			gpio_pin_toggle_dt(&led);
		}

		found = 0;
		for (uint8_t addr = 0x03; addr <= 0x77; addr++) {
			struct i2c_msg msg;
			uint8_t dummy;

			msg.buf = &dummy;
			msg.len = 0;
			msg.flags = I2C_MSG_WRITE | I2C_MSG_STOP;

			int ret = i2c_transfer(i2c_dev, &msg, 1, addr);
			if (ret == 0) {
				LOG_INF("  0x%02X: FOUND", addr);
				found++;
			}
		}
		LOG_INF("  -> %d device(s) found", found);
	}

	return 0;
}
```

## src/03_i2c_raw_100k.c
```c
/*
 * TEST 03: Raw I2C Communication at 100kHz
 *
 * PURPOSE: Send the SHT40 "read serial number" command (0x89) using
 *          Zephyr's I2C API at standard speed (100kHz).
 *
 * SHT40 PROTOCOL:
 *   1. Write command byte 0x89 to address 0x44
 *   2. Wait 1ms
 *   3. Read 6 bytes back (serial number + CRC)
 *
 * WHAT TO CHECK:
 *   - "Serial number: XXXX" = success, I2C works!
 *   - "i2c_write failed" = sensor not responding to writes
 *   - "i2c_read failed" = sensor not responding to reads
 *
 * EXPECTED SERIAL OUTPUT (success):
 *   [TEST 03] Sending read-serial command (0x89)...
 *   [TEST 03] Raw bytes: XX XX XX XX XX XX
 *   [TEST 03] Serial number: 0xXXXXXXXX
 *   [TEST 03] >>> SUCCESS: I2C communication works! <<<
 */

#include <zephyr/kernel.h>
#include <zephyr/drivers/i2c.h>
#include <zephyr/drivers/gpio.h>
#include <zephyr/logging/log.h>

LOG_MODULE_REGISTER(test_03, LOG_LEVEL_INF);

#define I2C_NODE    DT_NODELABEL(i2c0)
#define SHT40_ADDR  0x44

/* SHT40 commands */
#define SHT40_CMD_READ_SERIAL    0x89
#define SHT40_CMD_MEASURE_HIGH   0xFD

/* LED for visual heartbeat */
#define LED0_NODE DT_ALIAS(led0)
static const struct gpio_dt_spec led = GPIO_DT_SPEC_GET(LED0_NODE, gpios);

/* Simple CRC-8 check for SHT40 (polynomial 0x31, init 0xFF) */
static uint8_t sht40_crc8(const uint8_t *data, size_t len)
{
	uint8_t crc = 0xFF;

	for (size_t i = 0; i < len; i++) {
		crc ^= data[i];
		for (int bit = 0; bit < 8; bit++) {
			if (crc & 0x80) {
				crc = (crc << 1) ^ 0x31;
			} else {
				crc <<= 1;
			}
		}
	}
	return crc;
}

static int sht40_read_serial(const struct device *i2c_dev)
{
	uint8_t cmd = SHT40_CMD_READ_SERIAL;
	uint8_t buf[6];
	int ret;

	LOG_INF("Sending read-serial command (0x%02X) to 0x%02X...",
		cmd, SHT40_ADDR);

	/* Step 1: Write command */
	ret = i2c_write(i2c_dev, &cmd, 1, SHT40_ADDR);
	if (ret != 0) {
		LOG_ERR("i2c_write failed: %d", ret);
		LOG_ERR("Sensor did not ACK the command byte.");
		return ret;
	}

	LOG_INF("Write OK. Waiting 1ms...");
	k_msleep(1);

	/* Step 2: Read 6 bytes */
	ret = i2c_read(i2c_dev, buf, sizeof(buf), SHT40_ADDR);
	if (ret != 0) {
		LOG_ERR("i2c_read failed: %d", ret);
		LOG_ERR("Sensor did not respond to read request.");
		return ret;
	}

	LOG_INF("Raw bytes: %02X %02X %02X %02X %02X %02X",
		buf[0], buf[1], buf[2], buf[3], buf[4], buf[5]);

	/* Check CRC */
	uint8_t crc1 = sht40_crc8(&buf[0], 2);
	uint8_t crc2 = sht40_crc8(&buf[3], 2);

	if (crc1 != buf[2]) {
		LOG_WRN("CRC mismatch on first word: got 0x%02X, expected 0x%02X",
			buf[2], crc1);
	}
	if (crc2 != buf[5]) {
		LOG_WRN("CRC mismatch on second word: got 0x%02X, expected 0x%02X",
			buf[5], crc2);
	}

	uint32_t serial = ((uint32_t)buf[0] << 24) | ((uint32_t)buf[1] << 16) |
			  ((uint32_t)buf[3] << 8) | (uint32_t)buf[4];

	LOG_INF("Serial number: 0x%08X", serial);

	return 0;
}

static int sht40_measure(const struct device *i2c_dev)
{
	uint8_t cmd = SHT40_CMD_MEASURE_HIGH;
	uint8_t buf[6];
	int ret;

	LOG_INF("Sending measure command (0x%02X)...", cmd);

	ret = i2c_write(i2c_dev, &cmd, 1, SHT40_ADDR);
	if (ret != 0) {
		LOG_ERR("i2c_write (measure) failed: %d", ret);
		return ret;
	}

	/* High repeatability measurement takes up to 10ms */
	k_msleep(10);

	ret = i2c_read(i2c_dev, buf, sizeof(buf), SHT40_ADDR);
	if (ret != 0) {
		LOG_ERR("i2c_read (measure) failed: %d", ret);
		return ret;
	}

	LOG_INF("Raw bytes: %02X %02X %02X %02X %02X %02X",
		buf[0], buf[1], buf[2], buf[3], buf[4], buf[5]);

	/* Convert raw to temperature and humidity */
	uint16_t raw_temp = ((uint16_t)buf[0] << 8) | buf[1];
	uint16_t raw_hum  = ((uint16_t)buf[3] << 8) | buf[4];

	/* SHT40 formula: T = -45 + 175 * raw / 65535 */
	int temp_milli = -45000 + (int)((175000LL * (int64_t)raw_temp) / 65535);
	int hum_milli  = -6000  + (int)((125000LL * (int64_t)raw_hum)  / 65535);

	if (hum_milli < 0) hum_milli = 0;
	if (hum_milli > 100000) hum_milli = 100000;

	LOG_INF("Temperature: %d.%02d C", temp_milli / 1000,
		(temp_milli % 1000) / 10);
	LOG_INF("Humidity:    %d.%02d %%RH", hum_milli / 1000,
		(hum_milli % 1000) / 10);

	return 0;
}

int main(void)
{
	const struct device *i2c_dev = DEVICE_DT_GET(I2C_NODE);

	/* Wait for USB serial to connect */
	for (int i = 10; i > 0; i--) {
		printk("Starting in %d...\n", i);
		k_msleep(1000);
	}

	LOG_INF("========================================");
	LOG_INF("TEST 03: Raw I2C at 100kHz");
	LOG_INF("SDA=P0.24  SCL=P1.00  ADDR=0x%02X", SHT40_ADDR);
	LOG_INF("========================================");

	if (!device_is_ready(i2c_dev)) {
		LOG_ERR("I2C device not ready!");
		return -1;
	}

	LOG_INF("I2C bus ready.");

	/* Configure LED */
	if (gpio_is_ready_dt(&led)) {
		gpio_pin_configure_dt(&led, GPIO_OUTPUT_ACTIVE);
	}

	/* Read serial number first */
	int ret = sht40_read_serial(i2c_dev);
	if (ret == 0) {
		LOG_INF(">>> SUCCESS: I2C communication works! <<<");
	} else {
		LOG_ERR(">>> FAILED: Could not read serial number <<<");
	}

	LOG_INF("");
	LOG_INF("Now reading temperature/humidity every 3 seconds...");

	/* Continuous measurement loop */
	while (1) {
		k_msleep(3000);

		if (gpio_is_ready_dt(&led)) {
			gpio_pin_toggle_dt(&led);
		}

		sht40_measure(i2c_dev);
		LOG_INF("---");
	}

	return 0;
}
```

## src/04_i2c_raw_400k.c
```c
/*
 * TEST 04: Raw I2C Communication at 400kHz (Fast Mode)
 *
 * PURPOSE: Same as test 03, but reconfigures I2C to 400kHz at runtime.
 *          If test 03 works but this fails, your wiring or pull-ups
 *          cannot handle fast-mode speeds.
 *
 * WHAT TO CHECK:
 *   - Compare results with test 03
 *   - If this fails but 03 works = pull-ups too weak or wires too long
 *   - If both fail = not a speed issue
 *
 * EXPECTED SERIAL OUTPUT (success):
 *   [TEST 04] Reconfigured to 400kHz
 *   [TEST 04] Serial number: 0xXXXXXXXX
 *   [TEST 04] >>> SUCCESS at 400kHz! <<<
 */

#include <zephyr/kernel.h>
#include <zephyr/drivers/i2c.h>
#include <zephyr/drivers/gpio.h>
#include <zephyr/logging/log.h>

LOG_MODULE_REGISTER(test_04, LOG_LEVEL_INF);

#define I2C_NODE    DT_NODELABEL(i2c0)
#define SHT40_ADDR  0x44

#define SHT40_CMD_READ_SERIAL    0x89
#define SHT40_CMD_MEASURE_HIGH   0xFD

#define LED0_NODE DT_ALIAS(led0)
static const struct gpio_dt_spec led = GPIO_DT_SPEC_GET(LED0_NODE, gpios);

static int sht40_read_serial(const struct device *i2c_dev)
{
	uint8_t cmd = SHT40_CMD_READ_SERIAL;
	uint8_t buf[6];
	int ret;

	LOG_INF("Sending read-serial command (0x%02X)...", cmd);

	ret = i2c_write(i2c_dev, &cmd, 1, SHT40_ADDR);
	if (ret != 0) {
		LOG_ERR("i2c_write failed: %d", ret);
		return ret;
	}

	k_msleep(1);

	ret = i2c_read(i2c_dev, buf, sizeof(buf), SHT40_ADDR);
	if (ret != 0) {
		LOG_ERR("i2c_read failed: %d", ret);
		return ret;
	}

	LOG_INF("Raw bytes: %02X %02X %02X %02X %02X %02X",
		buf[0], buf[1], buf[2], buf[3], buf[4], buf[5]);

	uint32_t serial = ((uint32_t)buf[0] << 24) | ((uint32_t)buf[1] << 16) |
			  ((uint32_t)buf[3] << 8) | (uint32_t)buf[4];
	LOG_INF("Serial number: 0x%08X", serial);

	return 0;
}

static int sht40_measure(const struct device *i2c_dev)
{
	uint8_t cmd = SHT40_CMD_MEASURE_HIGH;
	uint8_t buf[6];
	int ret;

	ret = i2c_write(i2c_dev, &cmd, 1, SHT40_ADDR);
	if (ret != 0) {
		LOG_ERR("i2c_write (measure) failed: %d", ret);
		return ret;
	}

	k_msleep(10);

	ret = i2c_read(i2c_dev, buf, sizeof(buf), SHT40_ADDR);
	if (ret != 0) {
		LOG_ERR("i2c_read (measure) failed: %d", ret);
		return ret;
	}

	uint16_t raw_temp = ((uint16_t)buf[0] << 8) | buf[1];
	uint16_t raw_hum  = ((uint16_t)buf[3] << 8) | buf[4];

	int temp_milli = -45000 + (int)((175000LL * (int64_t)raw_temp) / 65535);
	int hum_milli  = -6000  + (int)((125000LL * (int64_t)raw_hum)  / 65535);

	if (hum_milli < 0) hum_milli = 0;
	if (hum_milli > 100000) hum_milli = 100000;

	LOG_INF("Temp: %d.%02d C   Hum: %d.%02d %%RH",
		temp_milli / 1000, (temp_milli % 1000) / 10,
		hum_milli / 1000, (hum_milli % 1000) / 10);

	return 0;
}

int main(void)
{
	const struct device *i2c_dev = DEVICE_DT_GET(I2C_NODE);
	int ret;

	/* Wait for USB serial to connect */
	for (int i = 10; i > 0; i--) {
		printk("Starting in %d...\n", i);
		k_msleep(1000);
	}

	LOG_INF("========================================");
	LOG_INF("TEST 04: Raw I2C at 400kHz (Fast Mode)");
	LOG_INF("SDA=P0.24  SCL=P1.00  ADDR=0x%02X", SHT40_ADDR);
	LOG_INF("========================================");

	if (!device_is_ready(i2c_dev)) {
		LOG_ERR("I2C device not ready!");
		return -1;
	}

	/* Reconfigure bus speed to 400kHz at runtime */
	ret = i2c_configure(i2c_dev, I2C_SPEED_SET(I2C_SPEED_FAST) | I2C_MODE_CONTROLLER);
	if (ret != 0) {
		LOG_ERR("Failed to set 400kHz: %d", ret);
		LOG_ERR("Falling back to default speed (100kHz from overlay).");
	} else {
		LOG_INF("Reconfigured I2C to 400kHz (fast mode)");
	}

	if (gpio_is_ready_dt(&led)) {
		gpio_pin_configure_dt(&led, GPIO_OUTPUT_ACTIVE);
	}

	/* Try read serial at 400kHz */
	ret = sht40_read_serial(i2c_dev);
	if (ret == 0) {
		LOG_INF(">>> SUCCESS at 400kHz! <<<");
	} else {
		LOG_ERR(">>> FAILED at 400kHz <<<");
		LOG_ERR("If test 03 (100kHz) worked, your pull-ups or");
		LOG_ERR("wiring cannot handle fast mode. Use 100kHz.");
	}

	LOG_INF("");
	LOG_INF("Measuring every 3 seconds...");

	while (1) {
		k_msleep(3000);

		if (gpio_is_ready_dt(&led)) {
			gpio_pin_toggle_dt(&led);
		}

		sht40_measure(i2c_dev);
		LOG_INF("---");
	}

	return 0;
}
```

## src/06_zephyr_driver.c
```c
/*
 * TEST 06: Zephyr SHT4X Sensor Driver
 *
 * PURPOSE: Use Zephyr's built-in sht4x sensor driver instead of raw I2C.
 *          This is the "proper" way to use the sensor in production.
 *          The driver is configured via devicetree in the overlay file.
 *
 * WHAT TO CHECK:
 *   - If this works = use this approach going forward
 *   - If this fails but test 03 works = driver config issue
 *   - Check that CONFIG_SENSOR=y is in prj.conf
 *
 * EXPECTED SERIAL OUTPUT (success):
 *   [TEST 06] SHT4X sensor device ready
 *   [TEST 06] Temperature: 23.45 C
 *   [TEST 06] Humidity:    48.12 %RH
 */

#include <zephyr/kernel.h>
#include <zephyr/device.h>
#include <zephyr/drivers/sensor.h>
#include <zephyr/drivers/gpio.h>
#include <zephyr/logging/log.h>

LOG_MODULE_REGISTER(test_06, LOG_LEVEL_INF);

#define LED0_NODE DT_ALIAS(led0)
static const struct gpio_dt_spec led = GPIO_DT_SPEC_GET(LED0_NODE, gpios);

int main(void)
{
	const struct device *sht = DEVICE_DT_GET_ANY(sensirion_sht4x);

	/* Wait for USB serial to connect */
	for (int i = 10; i > 0; i--) {
		printk("Starting in %d...\n", i);
		k_msleep(1000);
	}

	LOG_INF("========================================");
	LOG_INF("TEST 06: Zephyr SHT4X Sensor Driver");
	LOG_INF("Using built-in driver via devicetree");
	LOG_INF("========================================");

	if (sht == NULL) {
		LOG_ERR("No SHT4X device found in devicetree!");
		LOG_ERR("Check that overlay has sht4x@44 node under &i2c0");
		return -1;
	}

	if (!device_is_ready(sht)) {
		LOG_ERR("SHT4X device exists but is not ready!");
		LOG_ERR("Possible causes:");
		LOG_ERR("  - I2C bus not initialized");
		LOG_ERR("  - Sensor not responding at startup");
		LOG_ERR("  - Check wiring and pull-ups");
		return -1;
	}

	LOG_INF("SHT4X sensor device is ready!");

	if (gpio_is_ready_dt(&led)) {
		gpio_pin_configure_dt(&led, GPIO_OUTPUT_ACTIVE);
	}

	LOG_INF("Reading sensor every 3 seconds...");
	LOG_INF("");

	int reading = 0;

	while (1) {
		struct sensor_value temp, hum;
		int ret;

		reading++;

		ret = sensor_sample_fetch(sht);
		if (ret != 0) {
			LOG_ERR("[reading %d] sensor_sample_fetch failed: %d", reading, ret);
			k_msleep(3000);
			continue;
		}

		ret = sensor_channel_get(sht, SENSOR_CHAN_AMBIENT_TEMP, &temp);
		if (ret != 0) {
			LOG_ERR("[reading %d] get temperature failed: %d", reading, ret);
		}

		ret = sensor_channel_get(sht, SENSOR_CHAN_HUMIDITY, &hum);
		if (ret != 0) {
			LOG_ERR("[reading %d] get humidity failed: %d", reading, ret);
		}

		LOG_INF("[reading %d] Temp: %d.%06d C  Hum: %d.%06d %%RH",
			reading,
			temp.val1, temp.val2,
			hum.val1, hum.val2);

		if (gpio_is_ready_dt(&led)) {
			gpio_pin_toggle_dt(&led);
		}

		k_msleep(3000);
	}

	return 0;
}
```

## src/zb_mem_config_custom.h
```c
/*
 * Frostbee - ZBOSS Memory Configuration
 *
 * Minimal memory config for Zigbee End Device.
 *
 * SPDX-License-Identifier: MIT
 */

#ifndef ZB_MEM_CONFIG_CUSTOM_H
#define ZB_MEM_CONFIG_CUSTOM_H 1

#define ZB_CONFIG_ROLE_ZED
#define ZB_CONFIG_OVERALL_NETWORK_SIZE 16
#define ZB_CONFIG_LIGHT_TRAFFIC
#define ZB_CONFIG_APPLICATION_SIMPLE

#include "zb_mem_config_common.h"
#include "zb_mem_config_context.h"

#endif /* ZB_MEM_CONFIG_CUSTOM_H */
```
